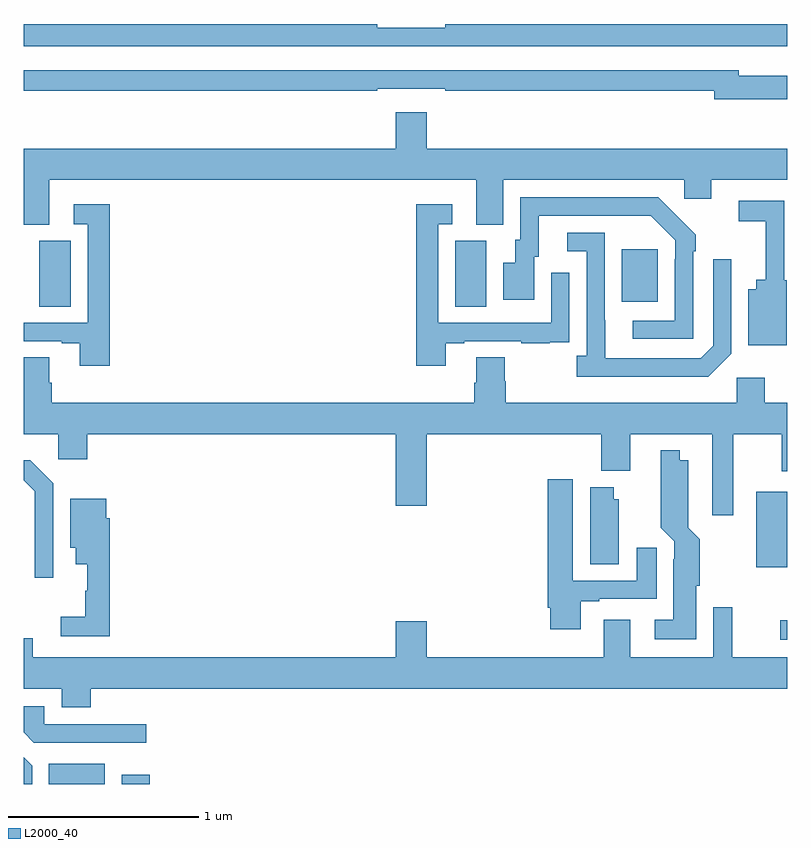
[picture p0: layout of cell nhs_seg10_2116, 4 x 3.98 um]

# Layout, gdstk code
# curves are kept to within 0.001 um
import gdstk
lib = gdstk.Library(unit=1e-6, precision=1e-09)
def R(c, l, rs):  # rectangles x0, y0, x1, y1
    for r in rs: c.add(gdstk.rectangle(r[:2], r[2:], *l))
def P(c, l, *ps):  # polygons
    for p in ps: c.add(gdstk.Polygon(p, *l))
L2000_40 = (2000, 40)

nhs_seg10_2116 = lib.new_cell('nhs_seg10_2116')
R(nhs_seg10_2116, L2000_40, [(223.133,1282.5,223.426,1282.606), (223.514,1282.5,223.661,1282.549), (226.962,1283.256,227,1283.357), (226.838,1283.636,227,1284.031), (223.082,1285,223.246,1285.344), (225.26,1285,225.424,1285.344), (226.133,1285.025,226.321,1285.3)])
P(nhs_seg10_2116, L2000_40, [(227,1286.48),(225.208,1286.48),(225.208,1286.461),(224.852,1286.461),(224.852,1286.48),(223,1286.48),(223,1286.364),(226.84,1286.364),(226.84,1286.363),(227,1286.363)],
  [(227,1286.209),(226.744,1286.209),(226.744,1286.238),(223,1286.238),(223,1286.13),(224.852,1286.13),(224.852,1286.142),(225.208,1286.142),(225.208,1286.13),(226.616,1286.13),(226.616,1286.087),(227,1286.087)],
  [(223.135,1285.664),(225.371,1285.664),(225.371,1285.429),(225.511,1285.429),(225.511,1285.664),(226.461,1285.664),(226.461,1285.566),(226.6,1285.566),(226.6,1285.664),(227,1285.664),(227,1285.828),(225.112,1285.828),(225.112,1286.017),(224.948,1286.017),(224.948,1285.828),(223,1285.828),(223,1285.429),(223.135,1285.429)],
  [(226.506,1285.289),(226.521,1285.289),(226.521,1285.377),(226.324,1285.572),(225.6,1285.572),(225.6,1285.35),(225.575,1285.35),(225.575,1285.231),(225.512,1285.231),(225.512,1285.035),(225.673,1285.035),(225.673,1285.26),(225.697,1285.26),(225.697,1285.476),(226.285,1285.476),(226.413,1285.347),(226.413,1285.247),(226.41,1285.247),(226.41,1284.927),(226.191,1284.927),(226.191,1284.831),(226.506,1284.831)],
  [(226.996,1285.137),(226.983,1285.137),(226.983,1285.554),(226.746,1285.554),(226.746,1285.446),(226.886,1285.446),(226.886,1285.141),(226.838,1285.141),(226.838,1285.09),(226.796,1285.09),(226.796,1284.797),(226.996,1284.797)],
  [(223.451,1285.537),(223.263,1285.537),(223.263,1285.431),(223.335,1285.431),(223.335,1284.915),(223,1284.915),(223,1284.819),(223.199,1284.819),(223.199,1284.807),(223.295,1284.807),(223.295,1284.69),(223.451,1284.69)],
  [(225.211,1284.807),(225.307,1284.807),(225.307,1284.819),(225.607,1284.819),(225.607,1284.807),(225.755,1284.807),(225.755,1284.813),(225.857,1284.813),(225.857,1284.922),(225.858,1284.922),(225.858,1285.177),(225.762,1285.177),(225.762,1284.915),(225.171,1284.915),(225.171,1285.431),(225.244,1285.431),(225.244,1285.537),(225.055,1285.537),(225.055,1284.69),(225.211,1284.69)],
  [(226.707,1284.753),(226.707,1285.249),(226.611,1285.249),(226.611,1284.795),(226.545,1284.729),(226.045,1284.729),(226.044,1285.386),(225.846,1285.386),(225.846,1285.29),(225.948,1285.29),(225.948,1284.742),(225.897,1284.742),(225.897,1284.632),(226.586,1284.632)],
  [(226.717,1284.332),(226.97,1284.332),(226.97,1284.138),(227,1284.138),(227,1284.496),(226.881,1284.496),(226.881,1284.628),(226.734,1284.628),(226.734,1284.496),(225.524,1284.496),(225.524,1284.609),(225.519,1284.609),(225.519,1284.734),(225.371,1284.734),(225.371,1284.602),(225.359,1284.602),(225.359,1284.496),(223.148,1284.496),(223.148,1284.602),(223.135,1284.602),(223.135,1284.734),(223,1284.734),(223,1284.332),(223.182,1284.332),(223.182,1284.201),(223.334,1284.201),(223.334,1284.332),(224.948,1284.332),(224.948,1283.958),(225.112,1283.958),(225.112,1284.332),(226.025,1284.332),(226.025,1284.14),(226.177,1284.14),(226.177,1284.332),(226.607,1284.332),(226.607,1283.907),(226.717,1283.907)],
  [(226.522,1283.538),(226.54,1283.538),(226.54,1283.783),(226.481,1283.842),(226.48,1284.196),(226.435,1284.196),(226.435,1284.247),(226.338,1284.247),(226.337,1283.842),(226.407,1283.772),(226.407,1283.678),(226.403,1283.678),(226.403,1283.359),(226.305,1283.359),(226.305,1283.258),(226.522,1283.258)],
  [(223.155,1284.075),(223.034,1284.196),(223,1284.196),(223,1284.092),(223.059,1284.033),(223.059,1283.58),(223.155,1283.58)],
  [(225.919,1283.457),(226.015,1283.457),(226.015,1283.469),(226.315,1283.469),(226.315,1283.737),(226.211,1283.737),(226.211,1283.565),(225.877,1283.565),(225.877,1284.097),(225.746,1284.097),(225.746,1283.422),(225.758,1283.422),(225.758,1283.31),(225.919,1283.31)],
  [(226.117,1283.991),(226.09,1283.991),(226.09,1284.055),(225.968,1284.055),(225.968,1283.65),(226.117,1283.65)],
  [(223.451,1283.891),(223.432,1283.891),(223.432,1283.995),(223.244,1283.995),(223.244,1283.738),(223.274,1283.738),(223.274,1283.651),(223.334,1283.651),(223.334,1283.511),(223.323,1283.511),(223.323,1283.375),(223.194,1283.375),(223.194,1283.274),(223.451,1283.274)],
  [(226.611,1283.425),(226.611,1283.164),(226.177,1283.164),(226.177,1283.359),(226.037,1283.359),(226.037,1283.164),(225.112,1283.164),(225.112,1283.353),(224.948,1283.353),(224.948,1283.164),(223.048,1283.164),(223.048,1283.262),(223,1283.262),(223,1283),(223.199,1283),(223.199,1282.901),(223.352,1282.901),(223.352,1283),(227,1283),(227,1283.164),(226.71,1283.164),(226.71,1283.425)],
  [(223.642,1282.812),(223.107,1282.812),(223.107,1282.908),(223,1282.908),(223,1282.77),(223.053,1282.716),(223.642,1282.716)],
  [(223.045,1282.595),(223,1282.64),(223,1282.5),(223.045,1282.5)])

lib.write_gds('nhs_seg10_2116.gds')
